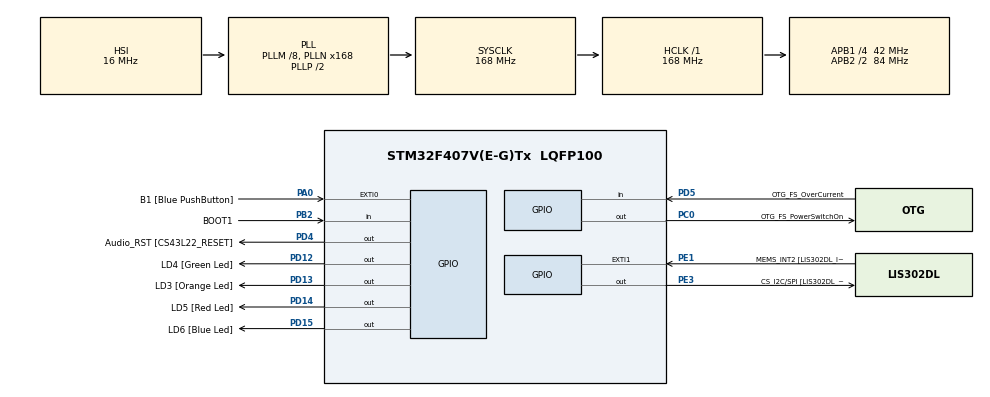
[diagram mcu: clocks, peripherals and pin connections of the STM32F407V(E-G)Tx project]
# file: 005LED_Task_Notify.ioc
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Mcu.Family=STM32F4
Mcu.Name=STM32F407V(E-G)Tx
Mcu.Package=LQFP100
NVIC.PriorityGroup=NVIC_PRIORITYGROUP_4
NVIC.TIM6_DAC_IRQn=true\:0\:0\:false\:false\:true\:false\:true
NVIC.TimeBase=TIM6_DAC_IRQn
NVIC.TimeBaseIP=TIM6
PA0-WKUP.GPIO_Label=B1 [Blue PushButton]
PA0-WKUP.Signal=GPXTI0
PA10.GPIO_Label=OTG_FS_ID
PA10.GPIO_Mode=GPIO_MODE_AF_PP
PA10.GPIO_PuPd=GPIO_NOPULL
PA10.GPIO_Speed=GPIO_SPEED_FREQ_LOW
PA10.Signal=USB_OTG_FS_ID
PA11.GPIO_Label=OTG_FS_DM
PA11.GPIO_Mode=GPIO_MODE_AF_PP
PA11.GPIO_PuPd=GPIO_NOPULL
PA11.GPIO_Speed=GPIO_SPEED_FREQ_LOW
PA11.Signal=USB_OTG_FS_DM
PA12.GPIO_Label=OTG_FS_DP
PA12.GPIO_Mode=GPIO_MODE_AF_PP
PA12.GPIO_PuPd=GPIO_NOPULL
PA12.GPIO_Speed=GPIO_SPEED_FREQ_LOW
PA12.Signal=USB_OTG_FS_DP
PA13.GPIO_Label=SWDIO
PA13.Signal=SYS_JTMS-SWDIO
PA14.GPIO_Label=SWCLK
PA14.Signal=SYS_JTCK-SWCLK
PA4.GPIO_Label=I2S3_WS [CS43L22_LRCK]
PA4.GPIO_Mode=GPIO_MODE_AF_PP
PA4.GPIO_PuPd=GPIO_NOPULL
PA4.GPIO_Speed=GPIO_SPEED_FREQ_LOW
PA4.Signal=I2S3_WS
PA5.GPIO_Label=SPI1_SCK [LIS302DL_SCL/SPC]
PA5.GPIO_Mode=GPIO_MODE_AF_PP
PA5.GPIO_PuPd=GPIO_NOPULL
PA5.GPIO_Speed=GPIO_SPEED_FREQ_LOW
PA5.Signal=SPI1_SCK
PA6.GPIO_Label=SPI1_MISO [LIS302DL_SDO]
PA6.GPIO_Mode=GPIO_MODE_AF_PP
PA6.GPIO_PuPd=GPIO_NOPULL
PA6.GPIO_Speed=GPIO_SPEED_FREQ_LOW
PA6.Signal=SPI1_MISO
PA7.GPIO_Label=SPI1_MOSI [LIS302DL_SDA/SDI/SDO]
PA7.GPIO_Mode=GPIO_MODE_AF_PP
PA7.GPIO_PuPd=GPIO_NOPULL
PA7.GPIO_Speed=GPIO_SPEED_FREQ_LOW
PA7.Signal=SPI1_MOSI
PA9.GPIO_Label=VBUS_FS
PA9.GPIO_Mode=GPIO_MODE_INPUT
PA9.GPIO_PuPd=GPIO_NOPULL
PA9.Signal=USB_OTG_FS_VBUS
PB10.GPIO_Label=CLK_IN [MP45DT02_CLK]
PB10.GPIO_Mode=GPIO_MODE_AF_PP
PB10.GPIO_PuPd=GPIO_NOPULL
PB10.GPIO_Speed=GPIO_SPEED_FREQ_LOW
PB10.Signal=I2S2_CK
PB2.GPIO_Label=BOOT1
PB2.GPIO_Mode=GPIO_MODE_INPUT
PB2.GPIO_PuPd=GPIO_NOPULL
PB2.Signal=GPIO_Input
PB3.GPIO_Label=SWO
PB3.Signal=SYS_JTDO-SWO
PB6.GPIO_Label=Audio_SCL [CS43L22_SCL]
PB6.GPIO_Mode=GPIO_MODE_AF_OD
PB6.GPIO_PuPd=GPIO_NOPULL
PB6.GPIO_Speed=GPIO_SPEED_FREQ_LOW
PB6.Signal=I2C1_SCL
PB9.GPIO_Label=Audio_SDA [CS43L22_SDA]
PB9.GPIO_Mode=GPIO_MODE_AF_OD
PB9.GPIO_PuPd=GPIO_NOPULL
PB9.GPIO_Speed=GPIO_SPEED_FREQ_LOW
PB9.Signal=I2C1_SDA
PC0.GPIO_Label=OTG_FS_PowerSwitchOn
PC0.GPIO_PuPd=GPIO_NOPULL
PC0.GPIO_Speed=GPIO_SPEED_FREQ_LOW
PC0.PinState=GPIO_PIN_SET
PC0.Signal=GPIO_Output
PC10.GPIO_Label=I2S3_SCK [CS43L22_SCLK]
PC10.GPIO_Mode=GPIO_MODE_AF_PP
PC10.GPIO_PuPd=GPIO_NOPULL
PC10.GPIO_Speed=GPIO_SPEED_FREQ_LOW
PC10.Signal=I2S3_CK
PC12.GPIO_Label=I2S3_SD [CS43L22_SDIN]
PC12.GPIO_Mode=GPIO_MODE_AF_PP
PC12.GPIO_PuPd=GPIO_NOPULL
PC12.GPIO_Speed=GPIO_SPEED_FREQ_LOW
PC12.Signal=I2S3_SD
PC14-OSC32_IN.GPIO_Label=PC14-OSC32_IN
PC14-OSC32_IN.Signal=RCC_OSC32_IN
PC15-OSC32_OUT.GPIO_Label=PC15-OSC32_OUT
PC15-OSC32_OUT.Signal=RCC_OSC32_OUT
PC3.GPIO_Label=PDM_OUT [MP45DT02_DOUT]
PC3.GPIO_Mode=GPIO_MODE_AF_PP
PC3.GPIO_PuPd=GPIO_NOPULL
PC3.GPIO_Speed=GPIO_SPEED_FREQ_LOW
PC3.Signal=I2S2_SD
PC7.GPIO_Label=I2S3_MCK [CS43L22_MCLK]
PC7.GPIO_Mode=GPIO_MODE_AF_PP
PC7.GPIO_PuPd=GPIO_NOPULL
PC7.GPIO_Speed=GPIO_SPEED_FREQ_LOW
PC7.Signal=I2S3_MCK
PD12.GPIO_Label=LD4 [Green Led]
PD12.GPIO_PuPd=GPIO_NOPULL
PD12.GPIO_Speed=GPIO_SPEED_FREQ_LOW
PD12.Signal=GPIO_Output
PD13.GPIO_Label=LD3 [Orange Led]
PD13.GPIO_PuPd=GPIO_NOPULL
PD13.GPIO_Speed=GPIO_SPEED_FREQ_LOW
PD13.Signal=GPIO_Output
PD14.GPIO_Label=LD5 [Red Led]
PD14.GPIO_PuPd=GPIO_NOPULL
PD14.GPIO_Speed=GPIO_SPEED_FREQ_LOW
PD14.Signal=GPIO_Output
PD15.GPIO_Label=LD6 [Blue Led]
PD15.GPIO_PuPd=GPIO_NOPULL
PD15.GPIO_Speed=GPIO_SPEED_FREQ_LOW
PD15.Signal=GPIO_Output
PD4.GPIO_Label=Audio_RST [CS43L22_RESET]
PD4.GPIO_PuPd=GPIO_NOPULL
PD4.GPIO_Speed=GPIO_SPEED_FREQ_LOW
PD4.Signal=GPIO_Output
PD5.GPIO_Label=OTG_FS_OverCurrent
PD5.GPIO_Mode=GPIO_MODE_INPUT
PD5.GPIO_PuPd=GPIO_NOPULL
PD5.Signal=GPIO_Input
PE1.GPIO_Label=MEMS_INT2 [LIS302DL_INT2]
PE1.GPIO_ModeDefaultEXTI=GPIO_MODE_EVT_RISING
PE1.GPIO_PuPd=GPIO_NOPULL
PE1.Signal=GPXTI1
PE3.GPIO_Label=CS_I2C/SPI [LIS302DL_CS_I2C/SPI]
PE3.GPIO_PuPd=GPIO_NOPULL
PE3.GPIO_Speed=GPIO_SPEED_FREQ_LOW
PE3.Signal=GPIO_Output
PH0-OSC_IN.GPIO_Label=PH0-OSC_IN
PH0-OSC_IN.Signal=RCC_OSC_IN
PH1-OSC_OUT.GPIO_Label=PH1-OSC_OUT
PH1-OSC_OUT.Signal=RCC_OSC_OUT
ProjectManager.HeapSize=0x200
ProjectManager.StackSize=0x400
ProjectManager.TargetToolchain=STM32CubeIDE
RCC.48MHZClocksFreq_Value=48000000
RCC.AHBFreq_Value=168000000
RCC.APB1CLKDivider=RCC_HCLK_DIV4
RCC.APB1Freq_Value=42000000
RCC.APB1TimFreq_Value=84000000
RCC.APB2CLKDivider=RCC_HCLK_DIV2
RCC.APB2Freq_Value=84000000
RCC.APB2TimFreq_Value=168000000
RCC.CortexFreq_Value=168000000
RCC.HCLKFreq_Value=168000000
RCC.HSE_VALUE=8000000
RCC.HSI_VALUE=16000000
RCC.LSE_VALUE=32768
RCC.PLLM=8
RCC.PLLN=168
RCC.PLLQ=7
RCC.SYSCLKFreq_VALUE=168000000
RCC.SYSCLKSource=RCC_SYSCLKSOURCE_PLLCLK
RCC.VCOOutputFreq_Value=336000000
VP_SYS_VS_tim6.Mode=TIM6
board=STM32F407G-DISC1

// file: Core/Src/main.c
/* USER CODE BEGIN Header */
/**
  ******************************************************************************
  * @file           : main.c
  * @brief          : Main program body
  ******************************************************************************
  * @attention
  *
  * Copyright (c) 2024 STMicroelectronics.
  * All rights reserved.
  *
  * This software is licensed under terms that can be found in the LICENSE file
  * in the root directory of this software component.
  * If no LICENSE file comes with this software, it is provided AS-IS.
  *
  ******************************************************************************
  */
/* USER CODE END Header */
#include "main.h"

/* USER CODE BEGIN Includes */
#include<stdio.h>
#include"FreeRTOS.h"
#include"task.h"
/* USER CODE END Includes */

/* USER CODE BEGIN PV */

#define DWT_CTRL		(*(volatile uint32_t*)0xE0001000)

/* USER CODE END PV */

void SystemClock_Config(void);
static void MX_GPIO_Init(void);
/* USER CODE BEGIN PFP */

static void led_red_handler(void *parameters);
static void led_orange_handler(void *parameters);
static void led_green_handler(void *parameters);
static void button_handler(void *parameters);

TaskHandle_t task1_handle;
TaskHandle_t task2_handle;
TaskHandle_t task3_handle;
TaskHandle_t task4_handle;
TaskHandle_t volatile next_task_handle=NULL;

/* USER CODE END PFP */

int main(void)
{
  /* USER CODE BEGIN 1 */
	BaseType_t status;

  /* USER CODE END 1 */

  /* MCU Configuration--------------------------------------------------------*/

  /* Reset of all peripherals, Initializes the Flash interface and the Systick. */
  HAL_Init();

  /* Configure the system clock */
  SystemClock_Config();

  /* Initialize all configured peripherals */
  MX_GPIO_Init();
  /* USER CODE BEGIN 2 */

  //Enable the CYCCNT counter
  DWT_CTRL |= (1<<0);

  SEGGER_UART_init(500000);

  SEGGER_SYSVIEW_Conf();

 // SEGGER_SYSVIEW_Start();  //this line is there in segger_uart.c under segger->config->Rec

  status=xTaskCreate(led_green_handler, "led_green_task", 200, NULL, 3, &task1_handle);

  configASSERT(status == pdPASS);

  next_task_handle=task1_handle;

  status=xTaskCreate(led_orange_handler, "led_orange_task", 200, NULL, 2, &task2_handle);

  configASSERT(status == pdPASS);

  status=xTaskCreate(led_red_handler, "led_red_task", 200, NULL, 1, &task3_handle);

   configASSERT(status == pdPASS);

   status=xTaskCreate(button_handler, "button_task", 200, NULL, 4, &task4_handle);

   configASSERT(status == pdPASS);

  //start the freeRTOS scheduler
  vTaskStartScheduler();

  //if the control comes here then the launch of scheduler has failed due to insufficient memory in the heap

  /* USER CODE END 2 */

  /* Infinite loop */
  while (1)
  {

  }
}

void SystemClock_Config(void)
{
  RCC_OscInitTypeDef RCC_OscInitStruct = {0};
  RCC_ClkInitTypeDef RCC_ClkInitStruct = {0};

  /** Configure the main internal regulator output voltage
  */
  __HAL_RCC_PWR_CLK_ENABLE();
  __HAL_PWR_VOLTAGESCALING_CONFIG(PWR_REGULATOR_VOLTAGE_SCALE1);
  /** Initializes the RCC Oscillators according to the specified parameters
  * in the RCC_OscInitTypeDef structure.
  */
  RCC_OscInitStruct.OscillatorType = RCC_OSCILLATORTYPE_HSI;
  RCC_OscInitStruct.HSIState = RCC_HSI_ON;
  RCC_OscInitStruct.HSICalibrationValue = RCC_HSICALIBRATION_DEFAULT;
  RCC_OscInitStruct.PLL.PLLState = RCC_PLL_ON;
  RCC_OscInitStruct.PLL.PLLSource = RCC_PLLSOURCE_HSI;
  RCC_OscInitStruct.PLL.PLLM = 8;
  RCC_OscInitStruct.PLL.PLLN = 168;
  RCC_OscInitStruct.PLL.PLLP = RCC_PLLP_DIV2;
  RCC_OscInitStruct.PLL.PLLQ = 7;
  if (HAL_RCC_OscConfig(&RCC_OscInitStruct) != HAL_OK)
  {
    Error_Handler();
  }
  /** Initializes the CPU, AHB and APB buses clocks
  */
  RCC_ClkInitStruct.ClockType = RCC_CLOCKTYPE_HCLK|RCC_CLOCKTYPE_SYSCLK
                              |RCC_CLOCKTYPE_PCLK1|RCC_CLOCKTYPE_PCLK2;
  RCC_ClkInitStruct.SYSCLKSource = RCC_SYSCLKSOURCE_PLLCLK;
  RCC_ClkInitStruct.AHBCLKDivider = RCC_SYSCLK_DIV1;
  RCC_ClkInitStruct.APB1CLKDivider = RCC_HCLK_DIV4;
  RCC_ClkInitStruct.APB2CLKDivider = RCC_HCLK_DIV2;

  if (HAL_RCC_ClockConfig(&RCC_ClkInitStruct, FLASH_LATENCY_5) != HAL_OK)
  {
    Error_Handler();
  }
}

static void MX_GPIO_Init(void)
{
  GPIO_InitTypeDef GPIO_InitStruct = {0};

  /* GPIO Ports Clock Enable */
  __HAL_RCC_GPIOE_CLK_ENABLE();
  __HAL_RCC_GPIOC_CLK_ENABLE();
  __HAL_RCC_GPIOH_CLK_ENABLE();
  __HAL_RCC_GPIOA_CLK_ENABLE();
  __HAL_RCC_GPIOB_CLK_ENABLE();
  __HAL_RCC_GPIOD_CLK_ENABLE();

  /*Configure GPIO pin Output Level */
  HAL_GPIO_WritePin(CS_I2C_SPI_GPIO_Port, CS_I2C_SPI_Pin, GPIO_PIN_RESET);

  /*Configure GPIO pin Output Level */
  HAL_GPIO_WritePin(OTG_FS_PowerSwitchOn_GPIO_Port, OTG_FS_PowerSwitchOn_Pin, GPIO_PIN_SET);

  /*Configure GPIO pin Output Level */
  HAL_GPIO_WritePin(GPIOD, LD4_Pin|LD3_Pin|LD5_Pin|LD6_Pin
                          |Audio_RST_Pin, GPIO_PIN_RESET);

  /*Configure GPIO pin : CS_I2C_SPI_Pin */
  GPIO_InitStruct.Pin = CS_I2C_SPI_Pin;
  GPIO_InitStruct.Mode = GPIO_MODE_OUTPUT_PP;
  GPIO_InitStruct.Pull = GPIO_NOPULL;
  GPIO_InitStruct.Speed = GPIO_SPEED_FREQ_LOW;
  HAL_GPIO_Init(CS_I2C_SPI_GPIO_Port, &GPIO_InitStruct);

  /*Configure GPIO pin : OTG_FS_PowerSwitchOn_Pin */
  GPIO_InitStruct.Pin = OTG_FS_PowerSwitchOn_Pin;
  GPIO_InitStruct.Mode = GPIO_MODE_OUTPUT_PP;
  GPIO_InitStruct.Pull = GPIO_NOPULL;
  GPIO_InitStruct.Speed = GPIO_SPEED_FREQ_LOW;
  HAL_GPIO_Init(OTG_FS_PowerSwitchOn_GPIO_Port, &GPIO_InitStruct);

  /*Configure GPIO pin : PDM_OUT_Pin */
  GPIO_InitStruct.Pin = PDM_OUT_Pin;
  GPIO_InitStruct.Mode = GPIO_MODE_AF_PP;
  GPIO_InitStruct.Pull = GPIO_NOPULL;
  GPIO_InitStruct.Speed = GPIO_SPEED_FREQ_LOW;
  GPIO_InitStruct.Alternate = GPIO_AF5_SPI2;
  HAL_GPIO_Init(PDM_OUT_GPIO_Port, &GPIO_InitStruct);

  /*Configure GPIO pin : B1_Pin */
  GPIO_InitStruct.Pin = B1_Pin;
  GPIO_InitStruct.Mode = GPIO_MODE_IT_RISING;
  GPIO_InitStruct.Pull = GPIO_NOPULL;
  HAL_GPIO_Init(B1_GPIO_Port, &GPIO_InitStruct);

  /*Configure GPIO pin : I2S3_WS_Pin */
  GPIO_InitStruct.Pin = I2S3_WS_Pin;
  GPIO_InitStruct.Mode = GPIO_MODE_AF_PP;
  GPIO_InitStruct.Pull = GPIO_NOPULL;
  GPIO_InitStruct.Speed = GPIO_SPEED_FREQ_LOW;
  GPIO_InitStruct.Alternate = GPIO_AF6_SPI3;
  HAL_GPIO_Init(I2S3_WS_GPIO_Port, &GPIO_InitStruct);

  /*Configure GPIO pins : SPI1_SCK_Pin SPI1_MISO_Pin SPI1_MOSI_Pin */
  GPIO_InitStruct.Pin = SPI1_SCK_Pin|SPI1_MISO_Pin|SPI1_MOSI_Pin;
  GPIO_InitStruct.Mode = GPIO_MODE_AF_PP;
  GPIO_InitStruct.Pull = GPIO_NOPULL;
  GPIO_InitStruct.Speed = GPIO_SPEED_FREQ_LOW;
  GPIO_InitStruct.Alternate = GPIO_AF5_SPI1;
  HAL_GPIO_Init(GPIOA, &GPIO_InitStruct);

  /*Configure GPIO pin : BOOT1_Pin */
  GPIO_InitStruct.Pin = BOOT1_Pin;
  GPIO_InitStruct.Mode = GPIO_MODE_INPUT;
  GPIO_InitStruct.Pull = GPIO_NOPULL;
  HAL_GPIO_Init(BOOT1_GPIO_Port, &GPIO_InitStruct);

  /*Configure GPIO pin : CLK_IN_Pin */
  GPIO_InitStruct.Pin = CLK_IN_Pin;
  GPIO_InitStruct.Mode = GPIO_MODE_AF_PP;
  GPIO_InitStruct.Pull = GPIO_NOPULL;
  GPIO_InitStruct.Speed = GPIO_SPEED_FREQ_LOW;
  GPIO_InitStruct.Alternate = GPIO_AF5_SPI2;
  HAL_GPIO_Init(CLK_IN_GPIO_Port, &GPIO_InitStruct);

  /*Configure GPIO pins : LD4_Pin LD3_Pin LD5_Pin LD6_Pin
                           Audio_RST_Pin */
  GPIO_InitStruct.Pin = LD4_Pin|LD3_Pin|LD5_Pin|LD6_Pin
                          |Audio_RST_Pin;
  GPIO_InitStruct.Mode = GPIO_MODE_OUTPUT_PP;
  GPIO_InitStruct.Pull = GPIO_NOPULL;
  GPIO_InitStruct.Speed = GPIO_SPEED_FREQ_LOW;
  HAL_GPIO_Init(GPIOD, &GPIO_InitStruct);

  /*Configure GPIO pins : I2S3_MCK_Pin I2S3_SCK_Pin I2S3_SD_Pin */
  GPIO_InitStruct.Pin = I2S3_MCK_Pin|I2S3_SCK_Pin|I2S3_SD_Pin;
  GPIO_InitStruct.Mode = GPIO_MODE_AF_PP;
  GPIO_InitStruct.Pull = GPIO_NOPULL;
  GPIO_InitStruct.Speed = GPIO_SPEED_FREQ_LOW;
  GPIO_InitStruct.Alternate = GPIO_AF6_SPI3;
  HAL_GPIO_Init(GPIOC, &GPIO_InitStruct);

  /*Configure GPIO pin : VBUS_FS_Pin */
  GPIO_InitStruct.Pin = VBUS_FS_Pin;
  GPIO_InitStruct.Mode = GPIO_MODE_INPUT;
  GPIO_InitStruct.Pull = GPIO_NOPULL;
  HAL_GPIO_Init(VBUS_FS_GPIO_Port, &GPIO_InitStruct);

  /*Configure GPIO pins : OTG_FS_ID_Pin OTG_FS_DM_Pin OTG_FS_DP_Pin */
  GPIO_InitStruct.Pin = OTG_FS_ID_Pin|OTG_FS_DM_Pin|OTG_FS_DP_Pin;
  GPIO_InitStruct.Mode = GPIO_MODE_AF_PP;
  GPIO_InitStruct.Pull = GPIO_NOPULL;
  GPIO_InitStruct.Speed = GPIO_SPEED_FREQ_LOW;
  GPIO_InitStruct.Alternate = GPIO_AF10_OTG_FS;
  HAL_GPIO_Init(GPIOA, &GPIO_InitStruct);

  /*Configure GPIO pin : OTG_FS_OverCurrent_Pin */
  GPIO_InitStruct.Pin = OTG_FS_OverCurrent_Pin;
  GPIO_InitStruct.Mode = GPIO_MODE_INPUT;
  GPIO_InitStruct.Pull = GPIO_NOPULL;
  HAL_GPIO_Init(OTG_FS_OverCurrent_GPIO_Port, &GPIO_InitStruct);

  /*Configure GPIO pins : Audio_SCL_Pin Audio_SDA_Pin */
  GPIO_InitStruct.Pin = Audio_SCL_Pin|Audio_SDA_Pin;
  GPIO_InitStruct.Mode = GPIO_MODE_AF_OD;
  GPIO_InitStruct.Pull = GPIO_NOPULL;
  GPIO_InitStruct.Speed = GPIO_SPEED_FREQ_LOW;
  GPIO_InitStruct.Alternate = GPIO_AF4_I2C1;
  HAL_GPIO_Init(GPIOB, &GPIO_InitStruct);

  /*Configure GPIO pin : MEMS_INT2_Pin */
  GPIO_InitStruct.Pin = MEMS_INT2_Pin;
  GPIO_InitStruct.Mode = GPIO_MODE_EVT_RISING;
  GPIO_InitStruct.Pull = GPIO_NOPULL;
  HAL_GPIO_Init(MEMS_INT2_GPIO_Port, &GPIO_InitStruct);

}

/* USER CODE BEGIN 4 */

static void led_green_handler(void *parameters)
{

    BaseType_t status;
	while(1)
	{

		SEGGER_SYSVIEW_PrintfTarget("Toggling Green led");
		HAL_GPIO_TogglePin(GPIOD, LED_GREEN_PIN);
		status= xTaskNotifyWait(0,0,NULL,pdMS_TO_TICKS(1000) );
		if (status== pdTRUE)
		{
			vTaskSuspendAll();
			next_task_handle= task2_handle;
			xTaskResumeAll();
			HAL_GPIO_WritePin(GPIOD, LED_GREEN_PIN, GPIO_PIN_SET);
			//SEGGER_SYSVIEW_PrintfTarget("Deleting Green tasks");
			//vTaskDelete(NULL);
			SEGGER_SYSVIEW_PrintfTarget("Suspending Green tasks");
			vTaskSuspend(NULL);
		}
	}
}

static void led_orange_handler(void *parameters)
{
	BaseType_t status;

	while(1)
	{
		SEGGER_SYSVIEW_PrintfTarget("Toggling Orange led");
		HAL_GPIO_TogglePin(GPIOD, LED_ORANGE_PIN);
		status= xTaskNotifyWait(0,0,NULL,pdMS_TO_TICKS(800) );
		if (status== pdTRUE)
		{

			vTaskSuspendAll();
			next_task_handle= task3_handle;
			xTaskResumeAll();
			HAL_GPIO_WritePin(GPIOD, LED_ORANGE_PIN, GPIO_PIN_SET);
			//SEGGER_SYSVIEW_PrintfTarget("Deleting Orange tasks");
			//vTaskDelete(NULL);
			SEGGER_SYSVIEW_PrintfTarget("Suspending Orange tasks");
			vTaskSuspend(NULL);

		}
	}
}

static void led_red_handler(void *parameters)
{

	BaseType_t status;
	while(1)
	{
		SEGGER_SYSVIEW_PrintfTarget("Toggling Red led");
		HAL_GPIO_TogglePin(GPIOD, LED_RED_PIN);
		status= xTaskNotifyWait(0,0,NULL,pdMS_TO_TICKS(400) );
		if (status== pdTRUE)
		{

			vTaskSuspendAll();
			next_task_handle= NULL;
			next_task_handle= task1_handle;
			xTaskResumeAll();
			HAL_GPIO_WritePin(GPIOD, LED_RED_PIN, GPIO_PIN_SET);
			//SEGGER_SYSVIEW_PrintfTarget("Deleting Button tasks");
			//vTaskDelete(task4_handle);
			//SEGGER_SYSVIEW_PrintfTarget("Deleting Red tasks");
			//vTaskDelete(NULL);
			SEGGER_SYSVIEW_PrintfTarget("Suspending Red tasks");
			vTaskSuspend(NULL);
		}

	}

}

static void button_handler(void *parameters)
{
	uint8_t btn,prevbtn;

	static uint8_t btn_cnt=0;

	while(1)
	{
		btn=HAL_GPIO_ReadPin(GPIOA, GPIO_PIN_0);
		if (btn)
		{
			if (prevbtn==0)
			{
			++btn_cnt;
				if (btn_cnt!=4)
				{
				 xTaskNotify( next_task_handle,0,eNoAction );
				}
				else
				{
					btn_cnt=0;
					vTaskResume(task1_handle);
					vTaskResume(task2_handle);
					vTaskResume(task3_handle);
				}

			}
		}
		prevbtn=btn;
		vTaskDelay(pdMS_TO_TICKS(10));
	}

}

/* USER CODE END 4 */

void HAL_TIM_PeriodElapsedCallback(TIM_HandleTypeDef *htim)
{
  if (htim->Instance == TIM6) {
    HAL_IncTick();
  }
}

void Error_Handler(void)
{
  __disable_irq();
  while (1)
  {
  }
}
